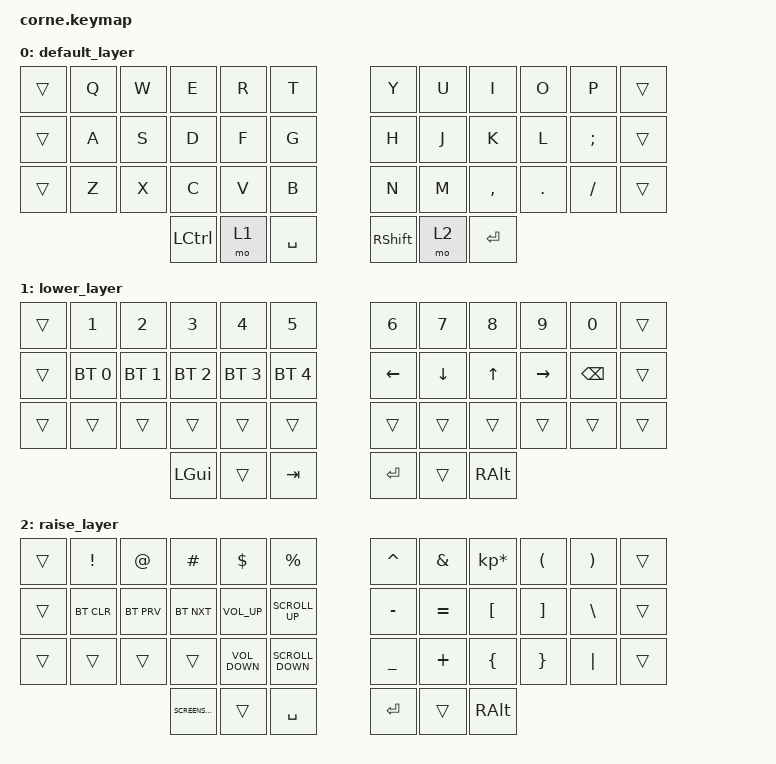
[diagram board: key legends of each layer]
/*
 * Copyright (c) 2020 The ZMK Contributors
 *
 * SPDX-License-Identifier: MIT
 */

#include <behaviors.dtsi>
#include <dt-bindings/zmk/bt.h>
#include <dt-bindings/zmk/keys.h>

/ {
    keymap {
        compatible = "zmk,keymap";

        default_layer {
            // -----------------------------------------------------------------------------------------
            // |  TAB |  Q  |  W  |  E  |  R  |  T  |   |  Y  |  U   |  I  |  O  |  P  | BKSP |
            // | CTRL |  A  |  S  |  D  |  F  |  G  |   |  H  |  J   |  K  |  L  |  ;  |  '   |
            // | SHFT |  Z  |  X  |  C  |  V  |  B  |   |  N  |  M   |  ,  |  .  |  /  | ESC  |
            //                    | GUI | LWR | SPC |   | ENT | RSE  | ALT |

            bindings = <
&trans  &kp Q  &kp W  &kp E             &kp R  &kp T        &kp Y            &kp U  &kp I      &kp O    &kp P     &trans
&trans  &kp A  &kp S  &kp D             &kp F  &kp G        &kp H            &kp J  &kp K      &kp L    &kp SEMI  &trans
&trans  &kp Z  &kp X  &kp C             &kp V  &kp B        &kp N            &kp M  &kp COMMA  &kp DOT  &kp FSLH  &trans
                      &kp LEFT_CONTROL  &mo 1  &kp SPACE    &kp RIGHT_SHIFT  &mo 2  &kp ENTER
            >;
        };

        lower_layer {
            // -----------------------------------------------------------------------------------------
            // |  TAB |  1  |  2  |  3  |  4  |  5  |   |  6  |  7  |  8  |  9  |  0  | BKSP |
            // | BTCLR| BT1 | BT2 | BT3 | BT4 | BT5 |   | LFT | DWN |  UP | RGT |     |      |
            // | SHFT |     |     |     |     |     |   |     |     |     |     |     |      |
            //                    | GUI |     | SPC |   | ENT |     | ALT |

            bindings = <
&trans  &kp N1        &kp N2        &kp N3        &kp N4        &kp N5          &kp N6    &kp N7    &kp N8    &kp N9     &kp N0         &trans
&trans  &bt BT_SEL 0  &bt BT_SEL 1  &bt BT_SEL 2  &bt BT_SEL 3  &bt BT_SEL 4    &kp LEFT  &kp DOWN  &kp UP    &kp RIGHT  &kp BACKSPACE  &trans
&trans  &trans        &trans        &trans        &trans        &trans          &trans    &trans    &trans    &trans     &trans         &trans
                                    &kp LGUI      &trans        &kp TAB         &kp RET   &trans    &kp RALT
            >;
        };

        raise_layer {
            // -----------------------------------------------------------------------------------------
            // |  TAB |  !  |  @  |  #  |  $  |  %  |   |  ^  |  &  |  *  |  (  |  )  | BKSP |
            // | CTRL |     |     |     |     |     |   |  -  |  =  |  [  |  ]  |  \  |  `   |
            // | SHFT |     |     |     |     |     |   |  _  |  +  |  {  |  }  | "|" |  ~   |
            //                    | GUI |     | SPC |   | ENT |     | ALT |

            bindings = <
&trans  &kp EXCL    &kp AT      &kp HASH           &kp DLLR           &kp PRCNT            &kp CARET  &kp AMPS   &kp KP_MULTIPLY  &kp LPAR  &kp RPAR  &trans
&trans  &bt BT_CLR  &bt BT_PRV  &bt BT_NXT         &kp C_VOLUME_UP    &kp K_SCROLL_UP      &kp MINUS  &kp EQUAL  &kp LBKT         &kp RBKT  &kp BSLH  &trans
&trans  &trans      &trans      &trans             &kp C_VOLUME_DOWN  &kp K_SCROLL_DOWN    &kp UNDER  &kp PLUS   &kp LBRC         &kp RBRC  &kp PIPE  &trans
                                &kp K_SCREENSAVER  &trans             &kp SPACE            &kp RET    &trans     &kp RALT
            >;
        };
    };
};
